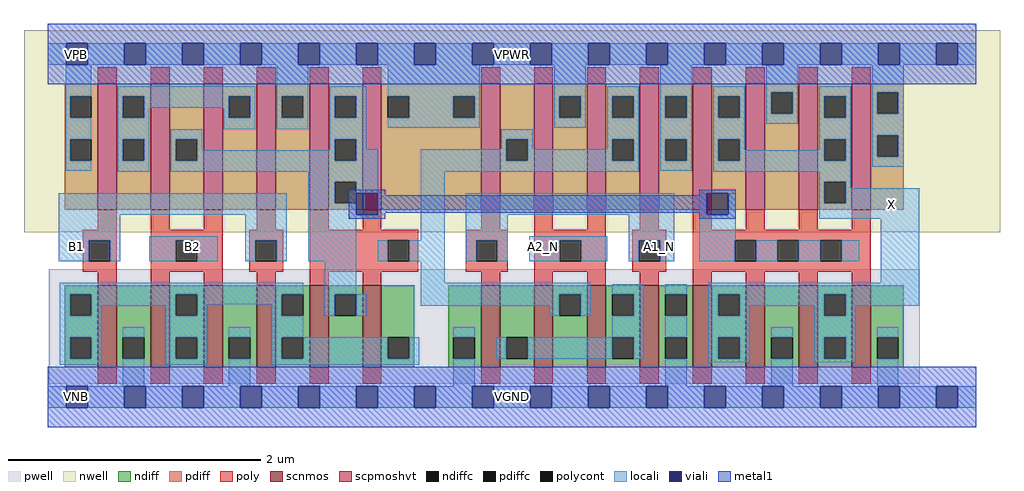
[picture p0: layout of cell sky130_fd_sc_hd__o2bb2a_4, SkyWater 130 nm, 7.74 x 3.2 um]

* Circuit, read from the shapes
.subckt sky130_fd_sc_hd__o2bb2a_4 A1_N A2_N B1 B2 VGND VNB VPB VPWR X
XM1 VGND B1 n1 VNB sky130_fd_pr__nfet_01v8 w=0.65 l=0.15 m=2
XM2 n1 B2 VGND VNB sky130_fd_pr__nfet_01v8 w=0.65 l=0.15 m=2
XM3 n2 n3 n1 VNB sky130_fd_pr__nfet_01v8 w=0.65 l=0.15 m=2
XM4 n4 A1_N VGND VNB sky130_fd_pr__nfet_01v8 w=0.65 l=0.15 m=2
XM5 n3 A2_N n4 VNB sky130_fd_pr__nfet_01v8 w=0.65 l=0.15 m=2
XM6 X n2 VGND VNB sky130_fd_pr__nfet_01v8 w=0.65 l=0.15 m=4
XM7 n5 B1 VPWR VPB sky130_fd_pr__pfet_01v8_hvt w=1 l=0.15 m=2
XM8 n2 B2 n5 VPB sky130_fd_pr__pfet_01v8_hvt w=1 l=0.15 m=2
XM9 n2 n3 VPWR VPB sky130_fd_pr__pfet_01v8_hvt w=1 l=0.15 m=2
XM10 n3 A1_N VPWR VPB sky130_fd_pr__pfet_01v8_hvt w=1 l=0.15 m=2
XM11 VPWR A2_N n3 VPB sky130_fd_pr__pfet_01v8_hvt w=1 l=0.15 m=2
XM12 X n2 VPWR VPB sky130_fd_pr__pfet_01v8_hvt w=1 l=0.15 m=4
.ends

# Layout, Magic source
magic
tech sky130B
magscale 1 2
<< nwell >>
rect -38 261 1510 582
<< pwell >>
rect 1 21 1383 203
rect 29 -17 63 21
<< scnmos >>
rect 79 47 109 177
rect 163 47 193 177
rect 247 47 277 177
rect 331 47 361 177
rect 415 47 445 177
rect 499 47 529 177
rect 687 47 717 177
rect 771 47 801 177
rect 855 47 885 177
rect 939 47 969 177
rect 1023 47 1053 177
rect 1107 47 1137 177
rect 1191 47 1221 177
rect 1275 47 1305 177
<< scpmoshvt >>
rect 79 297 109 497
rect 163 297 193 497
rect 247 297 277 497
rect 331 297 361 497
rect 415 297 445 497
rect 499 297 529 497
rect 687 297 717 497
rect 771 297 801 497
rect 855 297 885 497
rect 939 297 969 497
rect 1023 297 1053 497
rect 1107 297 1137 497
rect 1191 297 1221 497
rect 1275 297 1305 497
<< ndiff >>
rect 27 163 79 177
rect 27 129 35 163
rect 69 129 79 163
rect 27 95 79 129
rect 27 61 35 95
rect 69 61 79 95
rect 27 47 79 61
rect 109 95 163 177
rect 109 61 119 95
rect 153 61 163 95
rect 109 47 163 61
rect 193 163 247 177
rect 193 129 203 163
rect 237 129 247 163
rect 193 95 247 129
rect 193 61 203 95
rect 237 61 247 95
rect 193 47 247 61
rect 277 95 331 177
rect 277 61 287 95
rect 321 61 331 95
rect 277 47 331 61
rect 361 163 415 177
rect 361 129 371 163
rect 405 129 415 163
rect 361 95 415 129
rect 361 61 371 95
rect 405 61 415 95
rect 361 47 415 61
rect 445 163 499 177
rect 445 129 455 163
rect 489 129 499 163
rect 445 47 499 129
rect 529 95 581 177
rect 529 61 539 95
rect 573 61 581 95
rect 529 47 581 61
rect 635 95 687 177
rect 635 61 643 95
rect 677 61 687 95
rect 635 47 687 61
rect 717 95 771 177
rect 717 61 727 95
rect 761 61 771 95
rect 717 47 771 61
rect 801 163 855 177
rect 801 129 811 163
rect 845 129 855 163
rect 801 47 855 129
rect 885 163 939 177
rect 885 129 895 163
rect 929 129 939 163
rect 885 95 939 129
rect 885 61 895 95
rect 929 61 939 95
rect 885 47 939 61
rect 969 163 1023 177
rect 969 129 979 163
rect 1013 129 1023 163
rect 969 95 1023 129
rect 969 61 979 95
rect 1013 61 1023 95
rect 969 47 1023 61
rect 1053 163 1107 177
rect 1053 129 1063 163
rect 1097 129 1107 163
rect 1053 95 1107 129
rect 1053 61 1063 95
rect 1097 61 1107 95
rect 1053 47 1107 61
rect 1137 95 1191 177
rect 1137 61 1147 95
rect 1181 61 1191 95
rect 1137 47 1191 61
rect 1221 163 1275 177
rect 1221 129 1231 163
rect 1265 129 1275 163
rect 1221 95 1275 129
rect 1221 61 1231 95
rect 1265 61 1275 95
rect 1221 47 1275 61
rect 1305 95 1357 177
rect 1305 61 1315 95
rect 1349 61 1357 95
rect 1305 47 1357 61
<< pdiff >>
rect 27 477 79 497
rect 27 443 35 477
rect 69 443 79 477
rect 27 409 79 443
rect 27 375 35 409
rect 69 375 79 409
rect 27 297 79 375
rect 109 477 163 497
rect 109 443 119 477
rect 153 443 163 477
rect 109 409 163 443
rect 109 375 119 409
rect 153 375 163 409
rect 109 297 163 375
rect 193 409 247 497
rect 193 375 203 409
rect 237 375 247 409
rect 193 297 247 375
rect 277 477 331 497
rect 277 443 287 477
rect 321 443 331 477
rect 277 297 331 443
rect 361 477 415 497
rect 361 443 371 477
rect 405 443 415 477
rect 361 297 415 443
rect 445 477 499 497
rect 445 443 455 477
rect 489 443 499 477
rect 445 409 499 443
rect 445 375 455 409
rect 489 375 499 409
rect 445 341 499 375
rect 445 307 455 341
rect 489 307 499 341
rect 445 297 499 307
rect 529 477 687 497
rect 529 443 539 477
rect 573 443 643 477
rect 677 443 687 477
rect 529 297 687 443
rect 717 409 771 497
rect 717 375 727 409
rect 761 375 771 409
rect 717 297 771 375
rect 801 477 855 497
rect 801 443 811 477
rect 845 443 855 477
rect 801 297 855 443
rect 885 477 939 497
rect 885 443 895 477
rect 929 443 939 477
rect 885 409 939 443
rect 885 375 895 409
rect 929 375 939 409
rect 885 297 939 375
rect 969 477 1023 497
rect 969 443 979 477
rect 1013 443 1023 477
rect 969 409 1023 443
rect 969 375 979 409
rect 1013 375 1023 409
rect 969 297 1023 375
rect 1053 477 1107 497
rect 1053 443 1063 477
rect 1097 443 1107 477
rect 1053 409 1107 443
rect 1053 375 1063 409
rect 1097 375 1107 409
rect 1053 297 1107 375
rect 1137 483 1191 497
rect 1137 449 1147 483
rect 1181 449 1191 483
rect 1137 297 1191 449
rect 1221 477 1275 497
rect 1221 443 1231 477
rect 1265 443 1275 477
rect 1221 409 1275 443
rect 1221 375 1231 409
rect 1265 375 1275 409
rect 1221 341 1275 375
rect 1221 307 1231 341
rect 1265 307 1275 341
rect 1221 297 1275 307
rect 1305 483 1357 497
rect 1305 449 1315 483
rect 1349 449 1357 483
rect 1305 415 1357 449
rect 1305 381 1315 415
rect 1349 381 1357 415
rect 1305 297 1357 381
<< ndiffc >>
rect 35 129 69 163
rect 35 61 69 95
rect 119 61 153 95
rect 203 129 237 163
rect 203 61 237 95
rect 287 61 321 95
rect 371 129 405 163
rect 371 61 405 95
rect 455 129 489 163
rect 539 61 573 95
rect 643 61 677 95
rect 727 61 761 95
rect 811 129 845 163
rect 895 129 929 163
rect 895 61 929 95
rect 979 129 1013 163
rect 979 61 1013 95
rect 1063 129 1097 163
rect 1063 61 1097 95
rect 1147 61 1181 95
rect 1231 129 1265 163
rect 1231 61 1265 95
rect 1315 61 1349 95
<< pdiffc >>
rect 35 443 69 477
rect 35 375 69 409
rect 119 443 153 477
rect 119 375 153 409
rect 203 375 237 409
rect 287 443 321 477
rect 371 443 405 477
rect 455 443 489 477
rect 455 375 489 409
rect 455 307 489 341
rect 539 443 573 477
rect 643 443 677 477
rect 727 375 761 409
rect 811 443 845 477
rect 895 443 929 477
rect 895 375 929 409
rect 979 443 1013 477
rect 979 375 1013 409
rect 1063 443 1097 477
rect 1063 375 1097 409
rect 1147 449 1181 483
rect 1231 443 1265 477
rect 1231 375 1265 409
rect 1231 307 1265 341
rect 1315 449 1349 483
rect 1315 381 1349 415
<< poly >>
rect 79 497 109 523
rect 163 497 193 523
rect 247 497 277 523
rect 331 497 361 523
rect 415 497 445 523
rect 499 497 529 523
rect 687 497 717 523
rect 771 497 801 523
rect 855 497 885 523
rect 939 497 969 523
rect 1023 497 1053 523
rect 1107 497 1137 523
rect 1191 497 1221 523
rect 1275 497 1305 523
rect 79 265 109 297
rect 55 249 109 265
rect 55 215 65 249
rect 99 215 109 249
rect 55 199 109 215
rect 79 177 109 199
rect 163 265 193 297
rect 247 265 277 297
rect 331 265 361 297
rect 415 265 445 297
rect 499 265 529 297
rect 687 265 717 297
rect 771 265 801 297
rect 855 265 885 297
rect 939 265 969 297
rect 1023 265 1053 297
rect 1107 265 1137 297
rect 1191 265 1221 297
rect 1275 265 1305 297
rect 163 249 277 265
rect 163 215 203 249
rect 237 215 277 249
rect 163 199 277 215
rect 319 249 373 265
rect 319 215 329 249
rect 363 215 373 249
rect 319 199 373 215
rect 415 249 587 265
rect 415 215 539 249
rect 573 215 587 249
rect 415 199 587 215
rect 663 249 729 265
rect 663 215 679 249
rect 713 215 729 249
rect 663 199 729 215
rect 771 249 885 265
rect 771 215 812 249
rect 846 215 885 249
rect 771 199 885 215
rect 927 249 981 265
rect 927 215 937 249
rect 971 215 981 249
rect 927 199 981 215
rect 1023 249 1305 265
rect 1023 215 1089 249
rect 1123 215 1157 249
rect 1191 215 1225 249
rect 1259 215 1305 249
rect 1023 199 1305 215
rect 163 177 193 199
rect 247 177 277 199
rect 331 177 361 199
rect 415 177 445 199
rect 499 177 529 199
rect 687 177 717 199
rect 771 177 801 199
rect 855 177 885 199
rect 939 177 969 199
rect 1023 177 1053 199
rect 1107 177 1137 199
rect 1191 177 1221 199
rect 1275 177 1305 199
rect 79 21 109 47
rect 163 21 193 47
rect 247 21 277 47
rect 331 21 361 47
rect 415 21 445 47
rect 499 21 529 47
rect 687 21 717 47
rect 771 21 801 47
rect 855 21 885 47
rect 939 21 969 47
rect 1023 21 1053 47
rect 1107 21 1137 47
rect 1191 21 1221 47
rect 1275 21 1305 47
<< polycont >>
rect 65 215 99 249
rect 203 215 237 249
rect 329 215 363 249
rect 539 215 573 249
rect 679 215 713 249
rect 812 215 846 249
rect 937 215 971 249
rect 1089 215 1123 249
rect 1157 215 1191 249
rect 1225 215 1259 249
<< locali >>
rect 0 527 29 561
rect 63 527 121 561
rect 155 527 213 561
rect 247 527 305 561
rect 339 527 397 561
rect 431 527 489 561
rect 523 527 581 561
rect 615 527 673 561
rect 707 527 765 561
rect 799 527 857 561
rect 891 527 949 561
rect 983 527 1041 561
rect 1075 527 1133 561
rect 1167 527 1225 561
rect 1259 527 1317 561
rect 1351 527 1409 561
rect 1443 527 1472 561
rect 28 477 69 527
rect 28 443 35 477
rect 28 409 69 443
rect 28 375 35 409
rect 28 359 69 375
rect 111 477 329 493
rect 111 443 119 477
rect 153 459 287 477
rect 153 443 161 459
rect 111 409 161 443
rect 279 443 287 459
rect 321 443 329 477
rect 279 425 329 443
rect 363 477 413 527
rect 363 443 371 477
rect 405 443 413 477
rect 363 425 413 443
rect 447 477 505 493
rect 447 443 455 477
rect 489 443 505 477
rect 111 375 119 409
rect 153 375 161 409
rect 111 357 161 375
rect 195 409 245 425
rect 195 375 203 409
rect 237 391 245 409
rect 447 409 505 443
rect 539 477 685 527
rect 573 443 643 477
rect 677 443 685 477
rect 539 427 685 443
rect 803 477 853 527
rect 803 443 811 477
rect 845 443 853 477
rect 803 427 853 443
rect 887 477 937 493
rect 887 443 895 477
rect 929 443 937 477
rect 447 391 455 409
rect 237 375 455 391
rect 489 393 505 409
rect 719 409 769 425
rect 719 393 727 409
rect 489 375 523 393
rect 195 357 523 375
rect 413 341 523 357
rect 17 289 379 323
rect 17 249 115 289
rect 17 215 65 249
rect 99 215 115 249
rect 161 249 269 255
rect 161 215 203 249
rect 237 215 269 249
rect 313 249 379 289
rect 313 215 329 249
rect 363 215 379 249
rect 413 307 455 341
rect 489 323 523 341
rect 413 289 489 307
rect 413 283 523 289
rect 591 375 727 393
rect 761 393 769 409
rect 887 409 937 443
rect 887 393 895 409
rect 761 375 895 393
rect 929 375 937 409
rect 591 357 937 375
rect 971 477 1021 527
rect 971 443 979 477
rect 1013 443 1021 477
rect 971 409 1021 443
rect 971 375 979 409
rect 1013 375 1021 409
rect 971 359 1021 375
rect 1055 477 1105 493
rect 1055 443 1063 477
rect 1097 443 1105 477
rect 1055 409 1105 443
rect 1139 483 1189 527
rect 1139 449 1147 483
rect 1181 449 1189 483
rect 1139 433 1189 449
rect 1223 477 1273 493
rect 1223 443 1231 477
rect 1265 443 1273 477
rect 1055 375 1063 409
rect 1097 391 1105 409
rect 1223 409 1273 443
rect 1223 391 1231 409
rect 1097 375 1231 391
rect 1265 375 1273 409
rect 1055 357 1273 375
rect 1307 483 1357 527
rect 1307 449 1315 483
rect 1349 449 1357 483
rect 1307 415 1357 449
rect 1307 381 1315 415
rect 1349 381 1357 415
rect 1307 365 1357 381
rect 413 215 489 283
rect 591 249 629 357
rect 1223 341 1273 357
rect 523 215 539 249
rect 573 215 629 249
rect 663 289 993 323
rect 663 249 729 289
rect 663 215 679 249
rect 713 215 729 249
rect 763 249 887 255
rect 763 215 812 249
rect 846 215 887 249
rect 921 249 993 289
rect 921 215 937 249
rect 971 215 993 249
rect 1033 289 1045 323
rect 1079 289 1091 323
rect 1033 249 1091 289
rect 1223 307 1231 341
rect 1265 331 1273 341
rect 1265 307 1382 331
rect 1223 283 1382 307
rect 1033 215 1089 249
rect 1123 215 1157 249
rect 1191 215 1225 249
rect 1259 215 1287 249
rect 19 163 405 181
rect 19 129 35 163
rect 69 145 203 163
rect 69 129 85 145
rect 19 95 85 129
rect 187 129 203 145
rect 237 147 371 163
rect 237 129 253 147
rect 19 61 35 95
rect 69 61 85 95
rect 19 51 85 61
rect 119 95 153 111
rect 119 17 153 61
rect 187 95 253 129
rect 355 129 371 147
rect 439 163 489 215
rect 591 181 629 215
rect 1321 181 1382 283
rect 591 163 861 181
rect 439 129 455 163
rect 489 129 505 163
rect 591 145 811 163
rect 795 129 811 145
rect 845 129 861 163
rect 895 163 945 179
rect 929 129 945 163
rect 187 61 203 95
rect 237 61 253 95
rect 187 51 253 61
rect 287 95 321 111
rect 287 17 321 61
rect 355 95 405 129
rect 643 95 677 111
rect 895 95 945 129
rect 355 61 371 95
rect 405 61 539 95
rect 573 61 589 95
rect 355 51 589 61
rect 711 61 727 95
rect 761 61 895 95
rect 929 61 945 95
rect 979 163 1013 179
rect 979 95 1013 129
rect 643 17 677 61
rect 979 17 1013 61
rect 1047 163 1382 181
rect 1047 129 1063 163
rect 1097 145 1231 163
rect 1097 129 1113 145
rect 1047 95 1113 129
rect 1215 129 1231 145
rect 1265 145 1382 163
rect 1265 129 1281 145
rect 1047 61 1063 95
rect 1097 61 1113 95
rect 1047 55 1113 61
rect 1147 95 1181 111
rect 1147 17 1181 61
rect 1215 95 1281 129
rect 1215 61 1231 95
rect 1265 61 1281 95
rect 1215 55 1281 61
rect 1315 95 1349 111
rect 1315 17 1349 61
rect 0 -17 29 17
rect 63 -17 121 17
rect 155 -17 213 17
rect 247 -17 305 17
rect 339 -17 397 17
rect 431 -17 489 17
rect 523 -17 581 17
rect 615 -17 673 17
rect 707 -17 765 17
rect 799 -17 857 17
rect 891 -17 949 17
rect 983 -17 1041 17
rect 1075 -17 1133 17
rect 1167 -17 1225 17
rect 1259 -17 1317 17
rect 1351 -17 1409 17
rect 1443 -17 1472 17
<< viali >>
rect 29 527 63 561
rect 121 527 155 561
rect 213 527 247 561
rect 305 527 339 561
rect 397 527 431 561
rect 489 527 523 561
rect 581 527 615 561
rect 673 527 707 561
rect 765 527 799 561
rect 857 527 891 561
rect 949 527 983 561
rect 1041 527 1075 561
rect 1133 527 1167 561
rect 1225 527 1259 561
rect 1317 527 1351 561
rect 1409 527 1443 561
rect 489 289 523 323
rect 1045 289 1079 323
rect 29 -17 63 17
rect 121 -17 155 17
rect 213 -17 247 17
rect 305 -17 339 17
rect 397 -17 431 17
rect 489 -17 523 17
rect 581 -17 615 17
rect 673 -17 707 17
rect 765 -17 799 17
rect 857 -17 891 17
rect 949 -17 983 17
rect 1041 -17 1075 17
rect 1133 -17 1167 17
rect 1225 -17 1259 17
rect 1317 -17 1351 17
rect 1409 -17 1443 17
<< metal1 >>
rect 0 561 1472 592
rect 0 527 29 561
rect 63 527 121 561
rect 155 527 213 561
rect 247 527 305 561
rect 339 527 397 561
rect 431 527 489 561
rect 523 527 581 561
rect 615 527 673 561
rect 707 527 765 561
rect 799 527 857 561
rect 891 527 949 561
rect 983 527 1041 561
rect 1075 527 1133 561
rect 1167 527 1225 561
rect 1259 527 1317 561
rect 1351 527 1409 561
rect 1443 527 1472 561
rect 0 496 1472 527
rect 477 323 535 329
rect 477 289 489 323
rect 523 320 535 323
rect 1033 323 1091 329
rect 1033 320 1045 323
rect 523 292 1045 320
rect 523 289 535 292
rect 477 283 535 289
rect 1033 289 1045 292
rect 1079 289 1091 323
rect 1033 283 1091 289
rect 0 17 1472 48
rect 0 -17 29 17
rect 63 -17 121 17
rect 155 -17 213 17
rect 247 -17 305 17
rect 339 -17 397 17
rect 431 -17 489 17
rect 523 -17 581 17
rect 615 -17 673 17
rect 707 -17 765 17
rect 799 -17 857 17
rect 891 -17 949 17
rect 983 -17 1041 17
rect 1075 -17 1133 17
rect 1167 -17 1225 17
rect 1259 -17 1317 17
rect 1351 -17 1409 17
rect 1443 -17 1472 17
rect 0 -48 1472 -17
<< labels >>
flabel locali s 769 221 803 255 0 FreeSans 400 180 0 0 A2_N
port 2 nsew signal input
flabel locali s 953 221 987 255 0 FreeSans 400 180 0 0 A1_N
port 1 nsew signal input
flabel locali s 1321 289 1355 323 0 FreeSans 400 180 0 0 X
port 9 nsew signal output
flabel locali s 213 221 247 255 0 FreeSans 400 0 0 0 B2
port 4 nsew signal input
flabel locali s 29 221 63 255 0 FreeSans 400 0 0 0 B1
port 3 nsew signal input
flabel pwell s 29 -17 63 17 0 FreeSans 200 0 0 0 VNB
port 6 nsew ground bidirectional
flabel nwell s 29 527 63 561 0 FreeSans 200 0 0 0 VPB
port 7 nsew power bidirectional
flabel metal1 s 29 -17 63 17 0 FreeSans 200 0 0 0 VGND
port 5 nsew ground bidirectional abutment
flabel metal1 s 29 527 63 561 0 FreeSans 200 0 0 0 VPWR
port 8 nsew power bidirectional abutment
rlabel comment s 0 0 0 0 4 o2bb2a_4
rlabel metal1 s 0 -48 1472 48 1 VGND
port 5 nsew ground bidirectional abutment
rlabel metal1 s 0 496 1472 592 1 VPWR
port 8 nsew power bidirectional abutment
<< properties >>
string FIXED_BBOX 0 0 1472 544
string GDS_END 1230438
string GDS_FILE $PDKPATH/libs.ref/sky130_fd_sc_hd/gds/sky130_fd_sc_hd.gds
string GDS_START 1219306
string LEFclass CORE
string LEFsite unithd
string LEFsymmetry X Y R90
string path 0.000 0.000 7.360 0.000 
<< end >>
